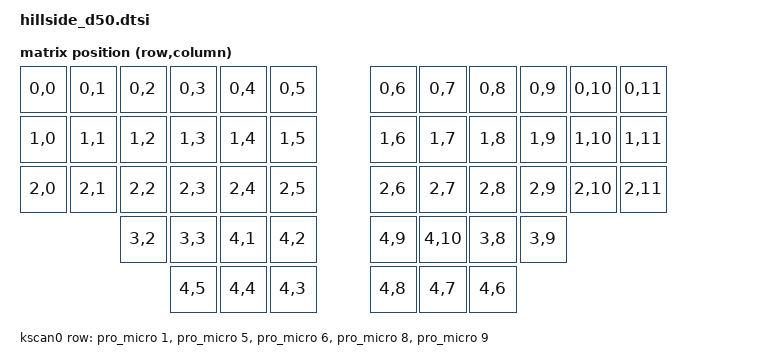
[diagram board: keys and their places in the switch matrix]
#include <dt-bindings/zmk/matrix_transform.h>

#include "hillside_d50-layouts.dtsi" // the physical layout with key locations

/* Define mapping between hardware grid and logic layout used by keymap.

Define

-   hardware pins used for scan
-   transform

*/

/ {
    chosen {
        zmk,physical-layout = &physical_layout0;
        // kscan: in layout, as clearer, though could be here instead
        // transform: in layout, as we enable studio which wants not in chosen
    };

    default_transform: keymap_transform_0 {
        compatible = "zmk,matrix-transform";

        columns = <12>;
        rows = <5>;

// Original Dactyl 50 version   -  Comment part still needs update, but seems to not matter.)
// | SW1  | SW2  | SW3  | SW4  | SW5  | SW6  |                                   | SW6  | SW5  | SW4  | SW3  | SW2  | SW1  |
// | SW7  | SW8  | SW9  | SW10 | SW11 | SW12 |                                   | SW12 | SW11 | SW10 | SW9  | SW8  | SW7  |
// | SW13 | SW14 | SW15 | SW16 | SW17 | SW18   / SW19 / SW20 /   \ SW20 \ SW19 \   SW18 | SW17 | SW16 | SW15 | SW14 | SW13 |
//               | SW21 | SW22          / SW23 / SW24 / SW25 /   \ SW25 \ SW24 \ SW23 \          SW22 | SW21 |
        map = <
RC(0,0) RC(0,1) RC(0,2) RC(0,3) RC(0,4) RC(0,5)         RC(0,6) RC(0,7)  RC(0,8) RC(0,9) RC(0,10) RC(0,11)
RC(1,0) RC(1,1) RC(1,2) RC(1,3) RC(1,4) RC(1,5)         RC(1,6) RC(1,7)  RC(1,8) RC(1,9) RC(1,10) RC(1,11)
RC(2,0) RC(2,1) RC(2,2) RC(2,3) RC(2,4) RC(2,5)         RC(2,6) RC(2,7)  RC(2,8) RC(2,9) RC(2,10) RC(2,11)
                RC(3,2) RC(3,3)   RC(4,1) RC(4,2)     RC(4,9) RC(4,10)   RC(3,8) RC(3,9)
                          RC(4,5) RC(4,4) RC(4,3)     RC(4,8) RC(4,7)  RC(4,6)
        >;
    };

    // Hardware pins for scan: Dactyl 50 alpha.2
    // [Pin references](https://zmk.dev/docs/development/hardware-integration/new-shield#kscan)
    kscan0: kscan {
        compatible = "zmk,kscan-gpio-matrix";
        wakeup-source;
        diode-direction = "col2row";
        row-gpios
            = <&pro_micro 1 (GPIO_ACTIVE_HIGH | GPIO_PULL_DOWN)> // Row 0 from the KiCad schematic
            , <&pro_micro 5 (GPIO_ACTIVE_HIGH | GPIO_PULL_DOWN)> // Row 1 from the KiCad schematic
            , <&pro_micro 6 (GPIO_ACTIVE_HIGH | GPIO_PULL_DOWN)> // Row 2 from the KiCad schematic
            , <&pro_micro 8 (GPIO_ACTIVE_HIGH | GPIO_PULL_DOWN)> // Row 3 from the KiCad schematic
            , <&pro_micro 9 (GPIO_ACTIVE_HIGH | GPIO_PULL_DOWN)> // Row 4 from the KiCad schematic
            ;
    };
};
